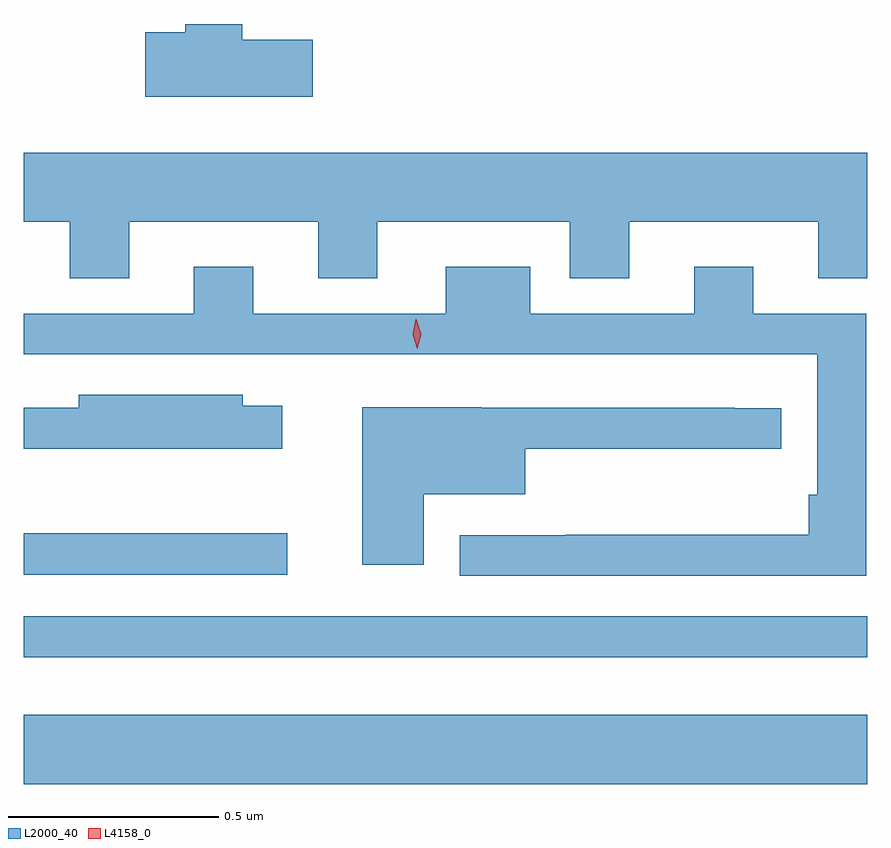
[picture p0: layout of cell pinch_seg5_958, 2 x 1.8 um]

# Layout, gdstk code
import gdstk
lib = gdstk.Library(unit=1e-6, precision=1e-09)
def R(c, l, rs):  # rectangles x0, y0, x1, y1
    for r in rs: c.add(gdstk.rectangle(r[:2], r[2:], *l))
def P(c, l, *ps):  # polygons
    for p in ps: c.add(gdstk.Polygon(p, *l))
L2000_40 = (2000, 40)
L4158_0 = (4158, 0)

pinch_seg5_958 = lib.new_cell('pinch_seg5_958')
R(pinch_seg5_958, L2000_40, [(657.819,906.044,659.819,906.208), (657.819,906.344,659.819,906.441), (657.819,906.54,658.444,906.638)])
P(pinch_seg5_958, L2000_40, [(658.504,907.808),(658.337,907.808),(658.337,907.845),(658.202,907.845),(658.202,907.825),(658.107,907.825),(658.107,907.673),(658.504,907.673)],
  [(658.069,907.376),(658.517,907.376),(658.517,907.243),(658.657,907.243),(658.657,907.376),(659.114,907.376),(659.114,907.243),(659.254,907.243),(659.254,907.376),(659.702,907.376),(659.702,907.243),(659.819,907.243),(659.819,907.54),(657.819,907.54),(657.819,907.376),(657.929,907.376),(657.929,907.243),(658.069,907.243)],
  [(659.816,907.158),(659.548,907.158),(659.548,907.27),(659.408,907.27),(659.408,907.158),(659.02,907.158),(659.02,907.27),(658.82,907.27),(658.82,907.158),(658.363,907.158),(658.363,907.27),(658.223,907.27),(658.223,907.158),(657.819,907.158),(657.819,907.062),(659.7,907.062),(659.7,906.73),(659.68,906.73),(659.68,906.635),(659.104,906.635),(659.104,906.633),(658.853,906.633),(658.853,906.537),(659.816,906.537)],
  [(658.432,906.94),(658.338,906.94),(658.338,906.967),(657.95,906.967),(657.95,906.936),(657.819,906.936),(657.819,906.839),(658.432,906.839)],
  [(658.768,906.731),(659.008,906.731),(659.008,906.839),(659.615,906.839),(659.615,906.935),(659.504,906.935),(659.504,906.936),(658.904,906.936),(658.904,906.937),(658.622,906.937),(658.622,906.564),(658.768,906.564)])
P(pinch_seg5_958, L4158_0, [(658.752,907.075),(658.752,907.075),(658.741,907.11),(658.749,907.145),(658.749,907.145),(658.75,907.145),(658.761,907.11),(658.752,907.075)])

lib.write_gds('pinch_seg5_958.gds')
